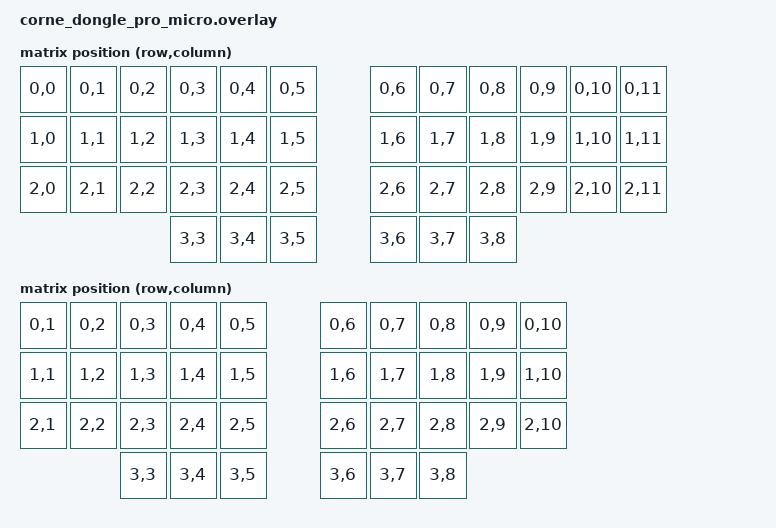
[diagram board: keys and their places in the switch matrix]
/*
 * Overlay for Pro Micro NRF52840 (dongle) with 128x64 SH1106 OLED
 * SDA: P0.17, SCL: P0.20
 */

#include <dt-bindings/zmk/matrix_transform.h>
#include <dt-bindings/pinctrl/nrf-pinctrl.h>

#include <layouts/foostan/corne/5column.dtsi>
#include <layouts/foostan/corne/6column.dtsi>

&foostan_corne_6col_layout {
    transform = <&default_transform>;
};

&foostan_corne_5col_layout {
    transform = <&five_column_transform>;
};

&{/} {
    chosen {
        zephyr,display = &oled;
        zmk,kscan = &mock_kscan;
        zmk,physical-layout = &foostan_corne_6col_layout;
    };

    default_transform: keymap_transform_0 {
        compatible = "zmk,matrix-transform";
        columns = <12>;
        rows = <4>;
        map = <
RC(0,0) RC(0,1) RC(0,2) RC(0,3) RC(0,4) RC(0,5)  RC(0,6) RC(0,7) RC(0,8) RC(0,9) RC(0,10) RC(0,11)
RC(1,0) RC(1,1) RC(1,2) RC(1,3) RC(1,4) RC(1,5)  RC(1,6) RC(1,7) RC(1,8) RC(1,9) RC(1,10) RC(1,11)
RC(2,0) RC(2,1) RC(2,2) RC(2,3) RC(2,4) RC(2,5)  RC(2,6) RC(2,7) RC(2,8) RC(2,9) RC(2,10) RC(2,11)
                        RC(3,3) RC(3,4) RC(3,5)  RC(3,6) RC(3,7) RC(3,8)
        >;
    };

    five_column_transform: keymap_transform_1 {
        compatible = "zmk,matrix-transform";
        columns = <10>;
        rows = <4>;
        map = <
RC(0,1) RC(0,2) RC(0,3) RC(0,4) RC(0,5)  RC(0,6) RC(0,7) RC(0,8) RC(0,9) RC(0,10)
RC(1,1) RC(1,2) RC(1,3) RC(1,4) RC(1,5)  RC(1,6) RC(1,7) RC(1,8) RC(1,9) RC(1,10)
RC(2,1) RC(2,2) RC(2,3) RC(2,4) RC(2,5)  RC(2,6) RC(2,7) RC(2,8) RC(2,9) RC(2,10)
                        RC(3,3) RC(3,4) RC(3,5)  RC(3,6) RC(3,7) RC(3,8)
        >;
    };

    mock_kscan: kscan_0 {
        compatible = "zmk,kscan-mock";
        columns = <0>;
        rows = <0>;
        events = <0>;
    };
};

// --------- SH1106 128x64 OLED ON NRF52840 I2C1 ---------

&pinctrl {
    i2c1_default: i2c1_default {
        group1 {
            psels = <NRF_PSEL(TWIM_SDA, 0, 17)>,
                    <NRF_PSEL(TWIM_SCL, 0, 20)>;
        };
    };

    i2c1_sleep: i2c1_sleep {
        group1 {
            psels = <NRF_PSEL(TWIM_SDA, 0, 17)>,
                    <NRF_PSEL(TWIM_SCL, 0, 20)>;
            low-power-enable;
        };
    };
};

&i2c1 {
    compatible = "nordic,nrf-twim";
    status = "okay";
    pinctrl-0 = <&i2c1_default>;
    pinctrl-1 = <&i2c1_sleep>;
    pinctrl-names = "default", "sleep";

    oled: sh1106@3c {
        compatible = "sinowealth,sh1106";
        reg = <0x3c>;
        width = <128>;
        height = <64>;
        segment-offset = <1>;
        page-offset = <0>;
        display-offset = <0>;
        multiplex-ratio = <63>;
        segment-remap;
        com-invdir;
        inversion-on;
        prechargep = <0x22>;
    };
};

/*
    --- Old/alternative OLED configs for reference ---

// 128x64 OLED SSD1306
// &pro_micro_i2c {
//     status = "okay";
//     oled: ssd1306@3c {
//         compatible = "solomon,ssd1306fb";
//         reg = <0x3c>;
//         width = <128>;
//         height = <64>;
//         segment-offset = <0>;
//         page-offset = <0>;
//         display-offset = <0>;
//         multiplex-ratio = <63>;
//         segment-remap;
//         com-invdir;
//         inversion-on;
//         prechargep = <0x22>;
//     };
// };

// 128x32 OLED SSD1306
// &pro_micro_i2c {
//     status = "okay";
//     oled: ssd1306@3c {
//         compatible = "solomon,ssd1306fb";
//         reg = <0x3c>;
//         width = <128>;
//         height = <32>;
//         segment-offset = <0>;
//         page-offset = <0>;
//         display-offset = <0>;
//         multiplex-ratio = <31>;
//         segment-remap;
//         com-invdir;
//         com-sequential;
//         inversion-on;
//         prechargep = <0x22>;
//     };
// };
*/
